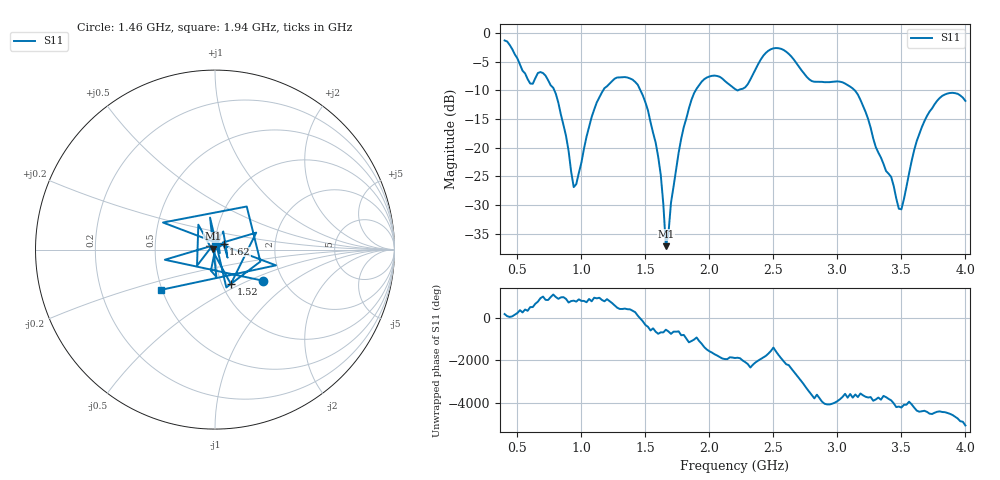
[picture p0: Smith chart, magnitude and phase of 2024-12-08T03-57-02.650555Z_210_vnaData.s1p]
!Created with skrf (http://scikit-rf.org).
# Hz S RI R 50.0
!freq ReS11 ImS11
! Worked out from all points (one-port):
!   181 points, 400 MHz to 4 GHz, reference 50 ohm
!   lowest |S11| = -37.2 dB at 1.66 GHz (marker M1), VSWR 1.03, Z = 48.7 + j0.46 ohm
!   |S11| at or under -10 dB: 788.5 MHz to 1.17 GHz (381.6 MHz wide, 39 % of centre); 1.461 GHz to 1.893 GHz (431.6 MHz wide, 25.7 % of centre); 3.135 GHz to end of sweep (the widest 3 of 4)
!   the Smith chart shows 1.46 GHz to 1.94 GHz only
!   S11 on the Smith chart (normalised r, x): 1.46 GHz: 1.58, -0.61; 1.52 GHz: 1.10, -0.44; 1.62 GHz: 1.10, +0.07; 1.94 GHz: 0.49, -0.26
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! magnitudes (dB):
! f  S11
! 400 MHz  -1.3
! 600 MHz  -8.8
! 720 MHz  -7.4
! 800 MHz  -10.6
! 860 MHz  -16.1
! 940 MHz  -26.9
! 1.12 GHz  -12.1
! 1.3 GHz  -7.8
! 1.46 GHz  -9.9
! 1.52 GHz  -13.5
! 1.62 GHz  -24.8
! 1.66 GHz  -37.2
! 1.76 GHz  -20.8
! 1.86 GHz  -11.7
! 1.94 GHz  -8.5
! 2.2 GHz  -9.8
! 2.28 GHz  -9.5
! 2.48 GHz  -2.8
! 2.66 GHz  -4.7
! 2.8 GHz  -8.4
! 3.1 GHz  -9.4
! 3.22 GHz  -13.8
! 3.42 GHz  -25.1
! 3.48 GHz  -30.6
! 3.56 GHz  -24.5
! 3.66 GHz  -16.4
! 3.78 GHz  -11.8
! 4 GHz  -11.8
